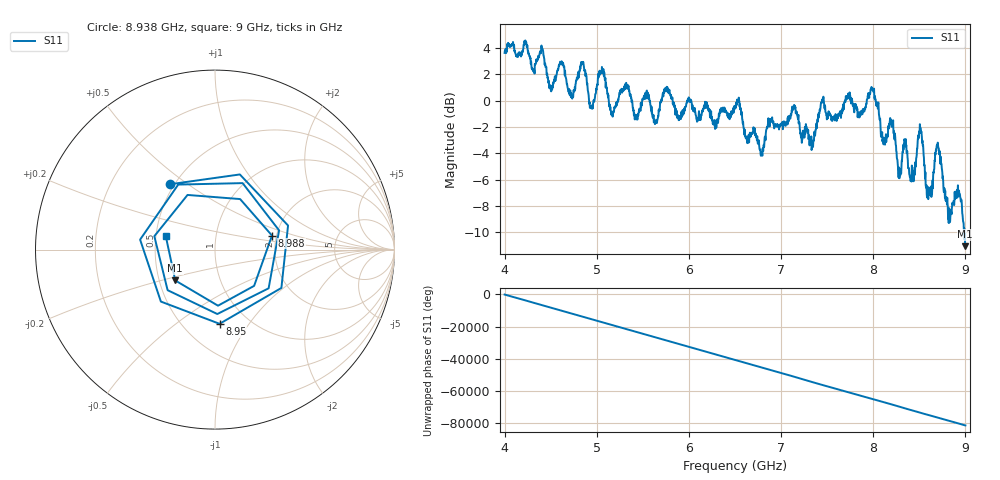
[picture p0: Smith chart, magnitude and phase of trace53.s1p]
! Created with skrf 1.8.0 (http://scikit-rf.org).
# Hz S RI R 50.0
!freq ReS11 ImS11
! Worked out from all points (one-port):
!   1601 points, 4 GHz to 9 GHz, reference 50 ohm
!   lowest |S11| = -11.0 dB at 8.997 GHz (marker M1), VSWR 1.78, Z = 30.3 - j11.3 ohm
!   |S11| at or under -10 dB: 8.983783 GHz to 8.984592 GHz (809.2 kHz wide, 0.00901 % of centre); 8.989051 GHz to end of sweep
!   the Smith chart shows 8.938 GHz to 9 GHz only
!   S11 on the Smith chart (normalised r, x): 8.938 GHz: 0.47, +0.43; 8.95 GHz: 0.74, -0.74; 8.988 GHz: 1.89, +0.33; 9 GHz: 0.56, +0.09
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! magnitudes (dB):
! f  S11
! 4 GHz  3.6
! 4.509 GHz  0.8
! 4.625 GHz  2.8
! 4.719 GHz  0.3
! 4.85 GHz  2.8
! 4.941 GHz  -0.5
! 5.047 GHz  2.2
! 5.159 GHz  -1.1
! 5.25 GHz  0.6
! 5.875 GHz  -1.1
! 6.5 GHz  -0.5
! 6.791 GHz  -3.9
! 7.125 GHz  -0.7
! 7.331 GHz  -3.7
! 7.444 GHz  -0.1
! 7.75 GHz  0.4
! 7.994 GHz  0.8
! 8.106 GHz  -3.2
! 8.375 GHz  -4.5
! 8.509 GHz  -2.0
! 8.594 GHz  -6.9
! 8.697 GHz  -3.4
! 8.825 GHz  -9.1
! 8.938 GHz  -7.1
! 8.95 GHz  -7.7
! 8.988 GHz  -9.7
! 8.997 GHz  -11.0
! 9 GHz  -10.9
